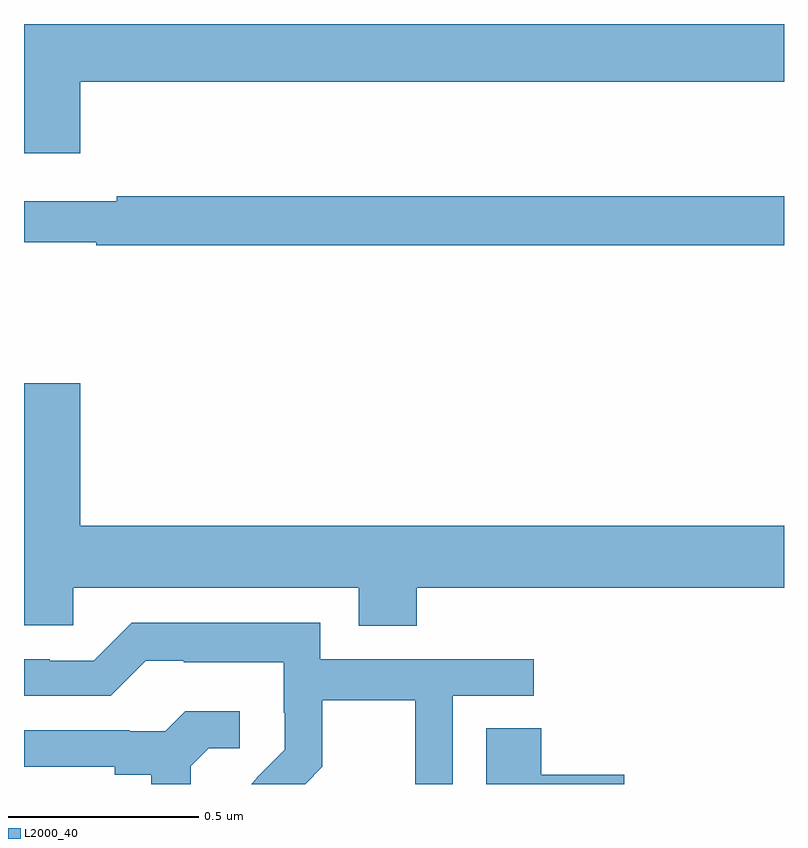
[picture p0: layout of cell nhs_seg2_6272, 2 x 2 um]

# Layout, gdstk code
import gdstk
lib = gdstk.Library(unit=1e-6, precision=1e-09)
def P(c, l, *ps):  # polygons
    for p in ps: c.add(gdstk.Polygon(p, *l))
L2000_40 = (2000, 40)

nhs_seg2_6272 = lib.new_cell('nhs_seg2_6272')
P(nhs_seg2_6272, L2000_40, [(191,635.8),(189,635.8),(189,635.46),(189.148,635.46),(189.148,635.648),(191,635.648)],
  [(191,635.347),(189.244,635.347),(189.244,635.334),(189,635.334),(189,635.226),(189.19,635.226),(189.19,635.218),(191,635.218)],
  [(190.034,634.316),(191,634.316),(191,634.48),(189.148,634.48),(189.148,634.855),(189,634.855),(189,634.218),(189.129,634.218),(189.129,634.316),(189.881,634.316),(189.881,634.217),(190.034,634.217)],
  [(189.785,633.845),(189.785,634.02),(190.03,634.02),(190.03,633.8),(190.128,633.8),(190.128,634.032),(190.342,634.032),(190.342,634.128),(189.78,634.128),(189.78,634.225),(189.283,634.225),(189.183,634.125),(189.068,634.125),(189.068,634.128),(189,634.128),(189,634.032),(189.228,634.032),(189.321,634.125),(189.421,634.125),(189.421,634.121),(189.684,634.121),(189.684,633.987),(189.686,633.987),(189.686,633.89),(189.612,633.816),(189.613,633.815),(189.598,633.8),(189.74,633.8)],
  [(189.439,633.847),(189.486,633.894),(189.568,633.894),(189.568,633.991),(189.424,633.991),(189.372,633.939),(189.278,633.939),(189.278,633.942),(189,633.942),(189,633.846),(189.239,633.846),(189.239,633.824),(189.335,633.824),(189.335,633.8),(189.439,633.8)],
  [(190.579,633.824),(190.361,633.824),(190.361,633.947),(190.217,633.947),(190.217,633.8),(190.579,633.8)])

lib.write_gds('nhs_seg2_6272.gds')
